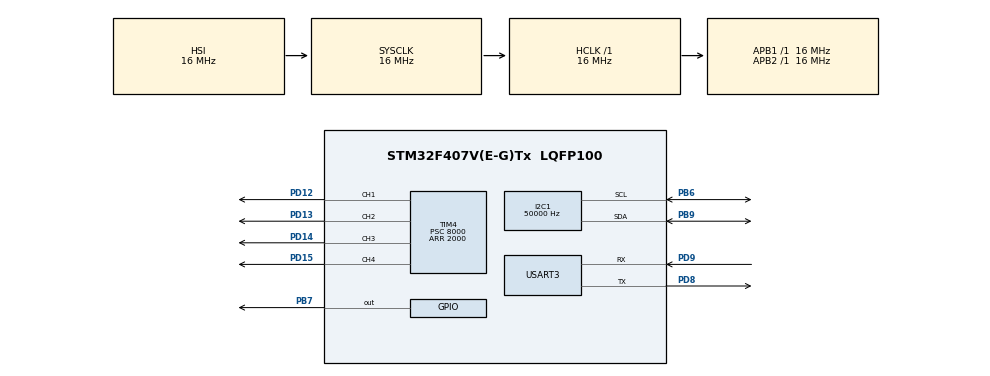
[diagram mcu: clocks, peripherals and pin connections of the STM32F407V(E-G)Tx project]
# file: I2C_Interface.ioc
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I2C1.ClockSpeed=50000
Mcu.Family=STM32F4
Mcu.Name=STM32F407V(E-G)Tx
Mcu.Package=LQFP100
NVIC.PriorityGroup=NVIC_PRIORITYGROUP_4
PB6.Mode=I2C
PB6.Signal=I2C1_SCL
PB7.Signal=GPIO_Output
PB9.Mode=I2C
PB9.Signal=I2C1_SDA
PD12.Signal=S_TIM4_CH1
PD13.Signal=S_TIM4_CH2
PD14.Signal=S_TIM4_CH3
PD15.Signal=S_TIM4_CH4
PD8.Mode=Asynchronous
PD8.Signal=USART3_TX
PD9.Mode=Asynchronous
PD9.Signal=USART3_RX
ProjectManager.HeapSize=0x200
ProjectManager.StackSize=0x400
ProjectManager.TargetToolchain=STM32CubeIDE
RCC.AHBFreq_Value=16000000
RCC.APB1Freq_Value=16000000
RCC.APB2Freq_Value=16000000
RCC.CortexFreq_Value=16000000
RCC.HSE_VALUE=25000000
RCC.HSI_VALUE=16000000
RCC.LSE_VALUE=32768
RCC.SYSCLKFreq_VALUE=16000000
RCC.VCOOutputFreq_Value=192000000
SH.S_TIM4_CH1.0=TIM4_CH1,PWM Generation1 CH1
SH.S_TIM4_CH2.0=TIM4_CH2,PWM Generation2 CH2
SH.S_TIM4_CH3.0=TIM4_CH3,PWM Generation3 CH3
SH.S_TIM4_CH4.0=TIM4_CH4,PWM Generation4 CH4
TIM4.Channel-PWM\ Generation1\ CH1=TIM_CHANNEL_1
TIM4.Channel-PWM\ Generation2\ CH2=TIM_CHANNEL_2
TIM4.Channel-PWM\ Generation3\ CH3=TIM_CHANNEL_3
TIM4.Channel-PWM\ Generation4\ CH4=TIM_CHANNEL_4
TIM4.Period=2000
TIM4.Prescaler=8000
TIM4.Pulse-PWM\ Generation1\ CH1=100
TIM4.Pulse-PWM\ Generation2\ CH2=100
TIM4.Pulse-PWM\ Generation3\ CH3=100
TIM4.Pulse-PWM\ Generation4\ CH4=100
USART3.VirtualMode=VM_ASYNC
VP_TIM4_VS_ClockSourceINT.Mode=Internal
board=custom

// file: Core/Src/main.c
/* USER CODE BEGIN Header */
/**
  ******************************************************************************
  * @file           : main.c
  * @brief          : Main program body
  ******************************************************************************
  * @attention
  *
  * <h2><center>&copy; Copyright (c) 2021 STMicroelectronics.
  * All rights reserved.</center></h2>
  *
  * This software component is licensed by ST under BSD 3-Clause license,
  * the "License"; You may not use this file except in compliance with the
  * License. You may obtain a copy of the License at:
  *                        opensource.org/licenses/BSD-3-Clause
  *
  ******************************************************************************
  */
/* USER CODE END Header */
#include "main.h"

/* USER CODE BEGIN Includes */

#include <stdio.h>
#include "libNazar.h"

/* USER CODE END Includes */

/* USER CODE BEGIN PD */
#ifdef __GNUC__
  /* With GCC, small printf (option LD Linker->Libraries->Small printf
     set to 'Yes') calls __io_putchar() */
  #define PUTCHAR_PROTOTYPE int __io_putchar(int ch)
#else
  #define PUTCHAR_PROTOTYPE int fputc(int ch, FILE *f)
#endif /* __GNUC__ */
/* USER CODE END PD */

I2C_HandleTypeDef hi2c1;

TIM_HandleTypeDef htim4;

UART_HandleTypeDef huart3;

void SystemClock_Config(void);
static void MX_GPIO_Init(void);
static void MX_I2C1_Init(void);
static void MX_TIM4_Init(void);
static void MX_USART3_UART_Init(void);

int main(void)
{

  /* MCU Configuration--------------------------------------------------------*/

  /* Reset of all peripherals, Initializes the Flash interface and the Systick. */
  HAL_Init();

  /* Configure the system clock */
  SystemClock_Config();

  /* Initialize all configured peripherals */
  MX_GPIO_Init();
  MX_I2C1_Init();
  MX_TIM4_Init();
  MX_USART3_UART_Init();

  /* Infinite loop */
  /* USER CODE BEGIN WHILE */
  HAL_Delay(15);

  HAL_GPIO_WritePin(GPIOB, GPIO_PIN_7, GPIO_PIN_RESET);

  uint8_t devId = 0x80;
  uint8_t TxBuffer[8];

  TxBuffer[0] = 0x00;
  TxBuffer[1] = 0x01;
  HAL_I2C_Master_Transmit(&hi2c1, devId, (uint8_t*) &TxBuffer, 2, 1000);

  TxBuffer[0] = 0x06;
  TxBuffer[1] = 0x65;
  HAL_I2C_Master_Transmit(&hi2c1, devId, (uint8_t*) &TxBuffer, 2, 1000);

  TxBuffer[0] = 0x07;
  TxBuffer[1] = 0x08;
  HAL_I2C_Master_Transmit(&hi2c1, devId, (uint8_t*) &TxBuffer, 2, 1000);

  TxBuffer[0] = 0x08;
  TxBuffer[1] = 0xCC;
  HAL_I2C_Master_Transmit(&hi2c1, devId, (uint8_t*) &TxBuffer, 2, 1000);

  TxBuffer[0] = 0x09;
  TxBuffer[1] = 0x04;
  HAL_I2C_Master_Transmit(&hi2c1, devId, (uint8_t*) &TxBuffer, 2, 1000);

  while (1)
  {
	  //enableOutTim4(&htim4);
	  uint16_t dutyCycleValueMin = 1; // 1 - low intensity, 25 - big intensity;
	  uint16_t dutyCycleValueMax = 25;
	  uint16_t frequency = 1600 - 1; //freq HSE = 8 Mhz => 8 Mhz / 1600 = 5 kHz;

	  uint8_t rcvBuf;
	  HAL_StatusTypeDef result;

	  result = HAL_UART_Receive(&huart3, &rcvBuf, sizeof(rcvBuf), 10);

	  if (result == HAL_OK)
	  {
		  switch (rcvBuf)
		  {
		  	  case '1':
		  		  printf("All outputs enabled!\r\n");
		  		  enableOutTim4();
		  		  break;
		  	  case '0':
		  		  printf("All outputs disabled!\r\n");
		  		  disableOutTim4();
		  		  break;
		  	  case '2':
		  		  printf("Duty Cycle set: %d \r\n", dutyCycleValueMin);
				  setDutyCycle(dutyCycleValueMin);
				  break;
		  	  case '3':
		  		  printf("Duty Cycle set: %d \r\n", dutyCycleValueMax);
		  		  setDutyCycle(dutyCycleValueMax);
		  		  break;
		  	  case '4':
		  		  printf("Frequency set: 20 Hz \r\n");
		  		  setPwmFrequency(frequency);
		  		  break;
		  	  case '5':
		  		  printf("Frequency set: 5 Hz \r\n");
		  		  setPwmFrequency(frequency * 4);
		  		  break;
		  	  case '6':
		  		  printf("Sleep mode enabled(\r\n");
		  		  enableSleepMode();
		  		  break;
		  	  case '7':
		  		  printf("Sleep mode disabled)\r\n");
		  		  disableSleepMode();
		  		  break;
		  	  default:
		  		  printf("Error, Sorry(\r\n");
		  		  break;
		  }
	  }
    /* USER CODE END WHILE */

  }
}

void SystemClock_Config(void)
{
  RCC_OscInitTypeDef RCC_OscInitStruct = {0};
  RCC_ClkInitTypeDef RCC_ClkInitStruct = {0};

  /** Configure the main internal regulator output voltage
  */
  __HAL_RCC_PWR_CLK_ENABLE();
  __HAL_PWR_VOLTAGESCALING_CONFIG(PWR_REGULATOR_VOLTAGE_SCALE1);
  /** Initializes the RCC Oscillators according to the specified parameters
  * in the RCC_OscInitTypeDef structure.
  */
  RCC_OscInitStruct.OscillatorType = RCC_OSCILLATORTYPE_HSI;
  RCC_OscInitStruct.HSIState = RCC_HSI_ON;
  RCC_OscInitStruct.HSICalibrationValue = RCC_HSICALIBRATION_DEFAULT;
  RCC_OscInitStruct.PLL.PLLState = RCC_PLL_NONE;
  if (HAL_RCC_OscConfig(&RCC_OscInitStruct) != HAL_OK)
  {
    Error_Handler();
  }
  /** Initializes the CPU, AHB and APB buses clocks
  */
  RCC_ClkInitStruct.ClockType = RCC_CLOCKTYPE_HCLK|RCC_CLOCKTYPE_SYSCLK
                              |RCC_CLOCKTYPE_PCLK1|RCC_CLOCKTYPE_PCLK2;
  RCC_ClkInitStruct.SYSCLKSource = RCC_SYSCLKSOURCE_HSI;
  RCC_ClkInitStruct.AHBCLKDivider = RCC_SYSCLK_DIV1;
  RCC_ClkInitStruct.APB1CLKDivider = RCC_HCLK_DIV1;
  RCC_ClkInitStruct.APB2CLKDivider = RCC_HCLK_DIV1;

  if (HAL_RCC_ClockConfig(&RCC_ClkInitStruct, FLASH_LATENCY_0) != HAL_OK)
  {
    Error_Handler();
  }
}

static void MX_I2C1_Init(void)
{

  hi2c1.Instance = I2C1;
  hi2c1.Init.ClockSpeed = 50000;
  hi2c1.Init.DutyCycle = I2C_DUTYCYCLE_2;
  hi2c1.Init.OwnAddress1 = 0;
  hi2c1.Init.AddressingMode = I2C_ADDRESSINGMODE_7BIT;
  hi2c1.Init.DualAddressMode = I2C_DUALADDRESS_DISABLE;
  hi2c1.Init.OwnAddress2 = 0;
  hi2c1.Init.GeneralCallMode = I2C_GENERALCALL_DISABLE;
  hi2c1.Init.NoStretchMode = I2C_NOSTRETCH_DISABLE;
  if (HAL_I2C_Init(&hi2c1) != HAL_OK)
  {
    Error_Handler();
  }

}

static void MX_TIM4_Init(void)
{

  TIM_ClockConfigTypeDef sClockSourceConfig = {0};
  TIM_MasterConfigTypeDef sMasterConfig = {0};
  TIM_OC_InitTypeDef sConfigOC = {0};

  htim4.Instance = TIM4;
  htim4.Init.Prescaler = 8000;
  htim4.Init.CounterMode = TIM_COUNTERMODE_UP;
  htim4.Init.Period = 2000;
  htim4.Init.ClockDivision = TIM_CLOCKDIVISION_DIV1;
  htim4.Init.AutoReloadPreload = TIM_AUTORELOAD_PRELOAD_DISABLE;
  if (HAL_TIM_Base_Init(&htim4) != HAL_OK)
  {
    Error_Handler();
  }
  sClockSourceConfig.ClockSource = TIM_CLOCKSOURCE_INTERNAL;
  if (HAL_TIM_ConfigClockSource(&htim4, &sClockSourceConfig) != HAL_OK)
  {
    Error_Handler();
  }
  if (HAL_TIM_PWM_Init(&htim4) != HAL_OK)
  {
    Error_Handler();
  }
  sMasterConfig.MasterOutputTrigger = TIM_TRGO_RESET;
  sMasterConfig.MasterSlaveMode = TIM_MASTERSLAVEMODE_DISABLE;
  if (HAL_TIMEx_MasterConfigSynchronization(&htim4, &sMasterConfig) != HAL_OK)
  {
    Error_Handler();
  }
  sConfigOC.OCMode = TIM_OCMODE_PWM1;
  sConfigOC.Pulse = 100;
  sConfigOC.OCPolarity = TIM_OCPOLARITY_HIGH;
  sConfigOC.OCFastMode = TIM_OCFAST_DISABLE;
  if (HAL_TIM_PWM_ConfigChannel(&htim4, &sConfigOC, TIM_CHANNEL_1) != HAL_OK)
  {
    Error_Handler();
  }
  if (HAL_TIM_PWM_ConfigChannel(&htim4, &sConfigOC, TIM_CHANNEL_2) != HAL_OK)
  {
    Error_Handler();
  }
  if (HAL_TIM_PWM_ConfigChannel(&htim4, &sConfigOC, TIM_CHANNEL_3) != HAL_OK)
  {
    Error_Handler();
  }
  if (HAL_TIM_PWM_ConfigChannel(&htim4, &sConfigOC, TIM_CHANNEL_4) != HAL_OK)
  {
    Error_Handler();
  }
  HAL_TIM_MspPostInit(&htim4);

}

static void MX_USART3_UART_Init(void)
{

  huart3.Instance = USART3;
  huart3.Init.BaudRate = 115200;
  huart3.Init.WordLength = UART_WORDLENGTH_8B;
  huart3.Init.StopBits = UART_STOPBITS_1;
  huart3.Init.Parity = UART_PARITY_NONE;
  huart3.Init.Mode = UART_MODE_TX_RX;
  huart3.Init.HwFlowCtl = UART_HWCONTROL_NONE;
  huart3.Init.OverSampling = UART_OVERSAMPLING_16;
  if (HAL_UART_Init(&huart3) != HAL_OK)
  {
    Error_Handler();
  }

}

static void MX_GPIO_Init(void)
{
  GPIO_InitTypeDef GPIO_InitStruct = {0};

  /* GPIO Ports Clock Enable */
  __HAL_RCC_GPIOD_CLK_ENABLE();
  __HAL_RCC_GPIOB_CLK_ENABLE();

  /*Configure GPIO pin Output Level */
  HAL_GPIO_WritePin(GPIOB, GPIO_PIN_7, GPIO_PIN_RESET);

  /*Configure GPIO pin : PB7 */
  GPIO_InitStruct.Pin = GPIO_PIN_7;
  GPIO_InitStruct.Mode = GPIO_MODE_OUTPUT_PP;
  GPIO_InitStruct.Pull = GPIO_NOPULL;
  GPIO_InitStruct.Speed = GPIO_SPEED_FREQ_LOW;
  HAL_GPIO_Init(GPIOB, &GPIO_InitStruct);

}

/* USER CODE BEGIN 4 */

PUTCHAR_PROTOTYPE
{
  /* Place your implementation of fputc here */
  /* e.g. write a character to the EVAL_COM1 and Loop until the end of transmission */
  HAL_UART_Transmit(&huart3, (uint8_t *)&ch, 1, 0xFFFF);

  return ch;
}

/* USER CODE END 4 */

void Error_Handler(void)
{
  __disable_irq();
  while (1)
  {
  }
}

/************************ (C) COPYRIGHT STMicroelectronics *****END OF FILE****/
